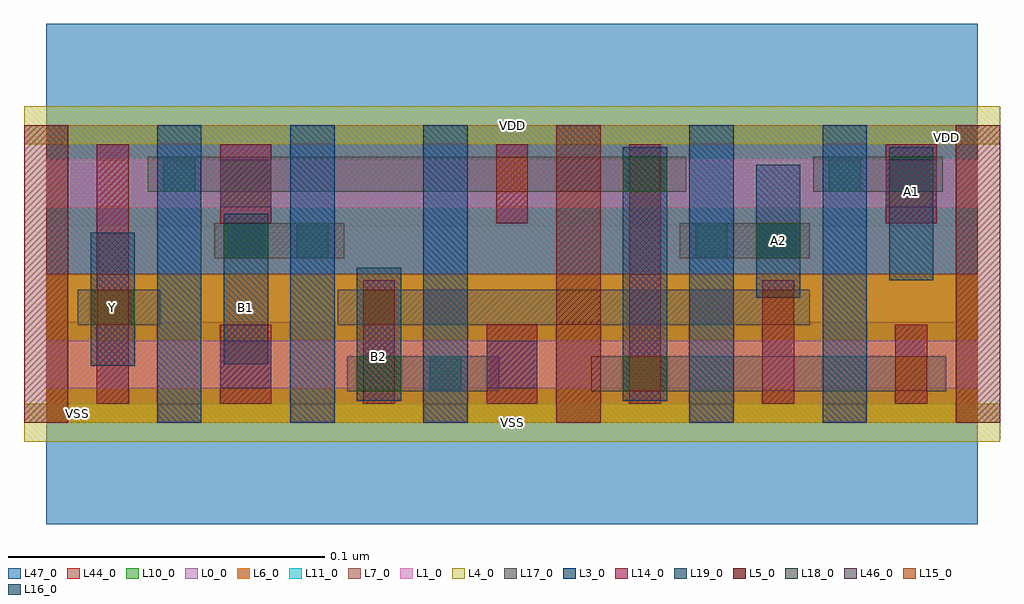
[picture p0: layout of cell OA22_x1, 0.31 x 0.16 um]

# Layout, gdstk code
import gdstk
lib = gdstk.Library(unit=1e-6, precision=5e-10)
def R(c, l, rs):  # rectangles x0, y0, x1, y1
    for r in rs: c.add(gdstk.rectangle(r[:2], r[2:], *l))
def A(c, l, x, y, w, h, nx, ny, dx, dy):  # array of equal rectangles
    R(c, l, [(x+i*dx, y+j*dy, x+i*dx+w, y+j*dy+h) for i in range(nx) for j in range(ny)])
L0_0 = (0, 0)
L1_0 = (1, 0)
L3_0 = (3, 0)
L4_0 = (4, 0)
L5_0 = (5, 0)
L6_0 = (6, 0)
L7_0 = (7, 0)
L10_0 = (10, 0)
L11_0 = (11, 0)
L14_0 = (14, 0)
L15_0 = (15, 0)
L16_0 = (16, 0)
L17_0 = (17, 0)
L18_0 = (18, 0)
L19_0 = (19, 0)
L44_0 = (44, 0)
L46_0 = (46, 0)
L47_0 = (47, 0)

oa22_x1 = lib.new_cell('OA22_x1')
R(oa22_x1, L0_0, [(0,0.047,0.294,0.094)])
R(oa22_x1, L1_0, [(0,0.011,0.294,0.026), (0,0.068,0.294,0.083)])
A(oa22_x1, L3_0, 0.035, 0, 0.014, 0.094, 3, 1, 0.042, 0)
R(oa22_x1, L3_0, [(0.203,0,0.217,0.094), (0.245,0,0.259,0.094)])
R(oa22_x1, L4_0, [(-0.007,-0.006,0.301,0.006), (-0.007,0.088,0.301,0.1)])
R(oa22_x1, L5_0, [(-0.007,0,0.007,0.094), (0.161,0,0.175,0.094), (0.287,0,0.301,0.094)])
R(oa22_x1, L6_0, [(0,0,0.294,0.047)])
R(oa22_x1, L7_0, [(0,0.047,0.294,0.094)])
R(oa22_x1, L10_0, [(0,0,0.294,0.047)])
R(oa22_x1, L11_0, [(0,0.047,0.294,0.094)])
R(oa22_x1, L14_0, [(0.016,0.006,0.026,0.088), (0.055,0.006,0.071,0.031), (0.1,0.006,0.11,0.045), (0.139,0.006,0.155,0.031), (0.184,0.006,0.194,0.088), (0.226,0.006,0.236,0.045), (0.268,0.006,0.278,0.031), (0.055,0.063,0.071,0.088), (0.142,0.063,0.152,0.088), (0.265,0.063,0.281,0.088)])
R(oa22_x1, L15_0, [(0.184,0.01,0.194,0.021), (0.268,0.01,0.278,0.021), (0.016,0.031,0.026,0.042), (0.1,0.031,0.11,0.042), (0.226,0.031,0.236,0.042), (0.142,0.073,0.152,0.084)])
R(oa22_x1, L16_0, [(0.121,0.01,0.131,0.021), (0.079,0.052,0.089,0.063), (0.205,0.052,0.215,0.063), (0.037,0.073,0.047,0.084), (0.247,0.073,0.257,0.084)])
R(oa22_x1, L17_0, [(0.095,0.01,0.143,0.021), (0.172,0.01,0.284,0.021), (0.01,0.031,0.036,0.042), (0.092,0.031,0.241,0.042), (0.053,0.052,0.094,0.063), (0.2,0.052,0.241,0.063), (0.032,0.073,0.202,0.084), (0.242,0.073,0.283,0.084)])
R(oa22_x1, L18_0, [(0.098,0.01,0.112,0.021), (0.182,0.01,0.196,0.021), (0.014,0.031,0.028,0.042), (0.056,0.052,0.07,0.063), (0.224,0.052,0.238,0.063), (0.182,0.073,0.196,0.084), (0.266,0.073,0.28,0.084)])
R(oa22_x1, L19_0, [(0.098,0.007,0.112,0.049), (0.182,0.007,0.196,0.087), (0.014,0.018,0.028,0.06), (0.056,0.0185,0.07,0.066), (0.224,0.0395,0.238,0.0815), (0.266,0.045,0.28,0.087)])
R(oa22_x1, L44_0, [(0,0,0.294,0.094)])
R(oa22_x1, L46_0, [(0.055,0.011,0.071,0.026), (0.139,0.011,0.155,0.026), (0.055,0.068,0.071,0.083), (0.265,0.068,0.281,0.083)])
R(oa22_x1, L47_0, [(0,-0.032,0.294,0.032), (0,0.062,0.294,0.126)])
oa22_x1.add(gdstk.Label('VDD', (0.284,0.09), layer=0, texttype=2))
oa22_x1.add(gdstk.Label('VSS', (0.147,0), layer=47, texttype=2))
oa22_x1.add(gdstk.Label('VDD', (0.147,0.094), layer=47, texttype=2))
oa22_x1.add(gdstk.Label('VSS', (0.01,0.003), layer=54, texttype=2))
oa22_x1.add(gdstk.Label('A1', (0.273,0.073), layer=19, texttype=2))
oa22_x1.add(gdstk.Label('A2', (0.231,0.0575), layer=19, texttype=2))
oa22_x1.add(gdstk.Label('B1', (0.063,0.0365), layer=19, texttype=2))
oa22_x1.add(gdstk.Label('B2', (0.105,0.021), layer=19, texttype=2))
oa22_x1.add(gdstk.Label('Y', (0.021,0.0365), layer=19, texttype=2))

lib.write_gds('OA22_x1.gds')
